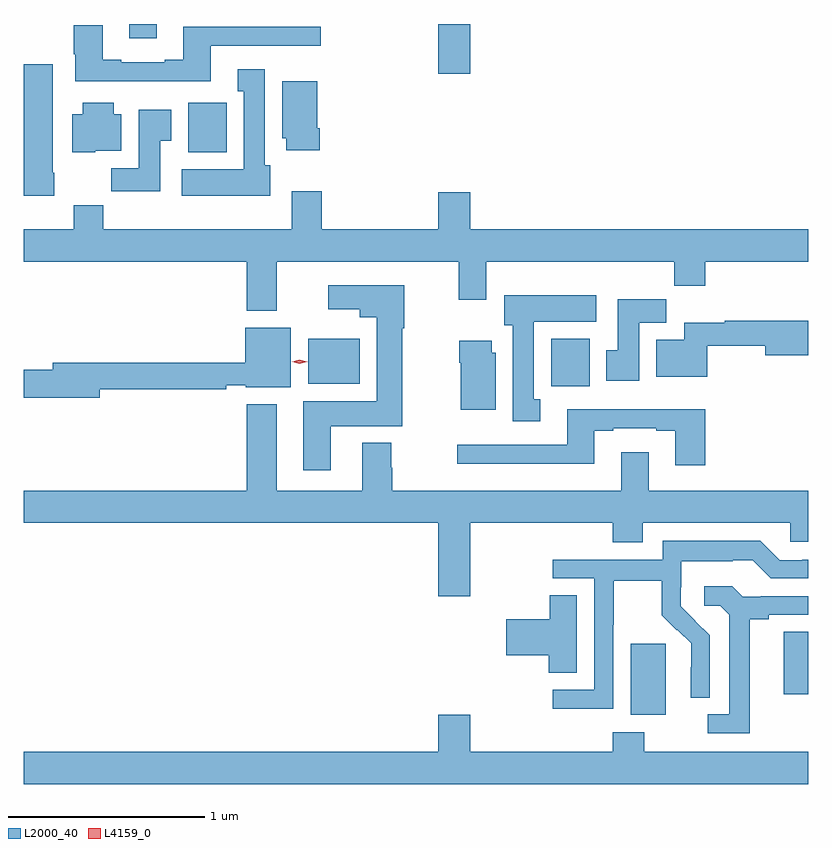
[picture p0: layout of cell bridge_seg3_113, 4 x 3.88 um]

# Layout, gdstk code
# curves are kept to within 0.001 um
import gdstk
lib = gdstk.Library(unit=1e-6, precision=1e-09)
def R(c, l, rs):  # rectangles x0, y0, x1, y1
    for r in rs: c.add(gdstk.rectangle(r[:2], r[2:], *l))
def P(c, l, *ps):  # polygons
    for p in ps: c.add(gdstk.Polygon(p, *l))
L2000_40 = (2000, 40)
L4159_0 = (4159, 0)

bridge_seg3_113 = lib.new_cell('bridge_seg3_113')
R(bridge_seg3_113, L2000_40, [(225.929,739.898,226.108,740.259), (226.709,740.001,226.835,740.321), (225.524,741.572,225.721,741.814), (224.285,741.584,224.548,741.814), (223.673,742.766,223.869,743.017), (224.948,743.166,225.112,743.419), (223.373,743.346,223.513,743.419)])
P(bridge_seg3_113, L2000_40, [(223.789,743.307),(224.35,743.307),(224.35,743.404),(223.649,743.404),(223.649,743.236),(223.553,743.236),(223.553,743.223),(223.333,743.223),(223.333,743.236),(223.237,743.236),(223.237,743.413),(223.09,743.413),(223.09,743.265),(223.097,743.265),(223.097,743.126),(223.789,743.126)],
  [(222.99,742.66),(222.982,742.66),(222.982,743.215),(222.835,743.215),(222.835,742.544),(222.99,742.544)],
  [(224.092,742.698),(224.065,742.698),(224.065,743.188),(223.925,743.188),(223.925,743.075),(223.958,743.075),(223.958,742.678),(223.641,742.678),(223.641,742.544),(224.092,742.544)],
  [(224.345,742.888),(224.332,742.888),(224.332,743.128),(224.153,743.128),(224.153,742.836),(224.174,742.836),(224.174,742.776),(224.345,742.776)],
  [(223.2,742.772),(223.333,742.772),(223.333,742.96),(223.294,742.96),(223.294,743.017),(223.136,743.017),(223.136,742.96),(223.082,742.96),(223.082,742.766),(223.2,742.766)],
  [(223.531,742.825),(223.588,742.825),(223.588,742.981),(223.421,742.981),(223.421,742.684),(223.282,742.684),(223.282,742.566),(223.531,742.566)],
  [(224.125,742.208),(225.053,742.208),(225.053,742.014),(225.193,742.014),(225.193,742.208),(226.153,742.208),(226.153,742.084),(226.31,742.084),(226.31,742.208),(226.835,742.208),(226.835,742.372),(225.112,742.372),(225.112,742.561),(224.948,742.561),(224.948,742.372),(224.354,742.372),(224.354,742.567),(224.201,742.567),(224.201,742.372),(223.241,742.372),(223.241,742.496),(223.09,742.496),(223.09,742.372),(222.835,742.372),(222.835,742.208),(223.973,742.208),(223.973,741.956),(224.125,741.956)],
  [(224.401,741.368),(224.766,741.368),(224.766,741.869),(224.776,741.869),(224.776,742.087),(224.388,742.087),(224.388,741.965),(224.549,741.965),(224.549,741.923),(224.636,741.923),(224.636,741.496),(224.261,741.496),(224.261,741.144),(224.401,741.144)],
  [(225.469,741.506),(225.436,741.506),(225.436,741.902),(225.754,741.902),(225.754,742.036),(225.284,742.036),(225.284,741.882),(225.329,741.882),(225.329,741.393),(225.469,741.393)],
  [(225.973,741.896),(226.112,741.896),(226.112,742.015),(225.863,742.015),(225.863,741.756),(225.806,741.756),(225.806,741.6),(225.973,741.6)],
  [(226.32,741.778),(226.616,741.778),(226.616,741.731),(226.835,741.731),(226.835,741.907),(226.408,741.907),(226.408,741.896),(226.202,741.896),(226.202,741.808),(226.061,741.808),(226.061,741.62),(226.32,741.62)],
  [(223.222,741.556),(223.868,741.556),(223.868,741.576),(223.968,741.576),(223.968,741.566),(224.197,741.566),(224.197,741.871),(223.964,741.871),(223.964,741.692),(222.983,741.692),(222.983,741.656),(222.835,741.656),(222.835,741.514),(223.222,741.514)],
  [(225.241,741.744),(225.22,741.744),(225.22,741.805),(225.055,741.805),(225.055,741.692),(225.062,741.692),(225.062,741.452),(225.241,741.452)],
  [(225.112,740.876),(225.839,740.876),(225.839,740.777),(225.991,740.777),(225.991,740.876),(226.743,740.876),(226.743,740.778),(226.835,740.778),(226.835,741.04),(226.021,741.04),(226.021,741.235),(225.881,741.235),(225.881,741.04),(224.714,741.04),(224.714,741.156),(224.709,741.156),(224.709,741.283),(224.561,741.283),(224.561,741.04),(224.125,741.04),(224.125,741.481),(223.973,741.481),(223.973,741.04),(222.835,741.04),(222.835,740.876),(224.948,740.876),(224.948,740.502),(225.112,740.502)],
  [(226.31,741.454),(225.605,741.454),(225.605,741.273),(225.045,741.273),(225.045,741.176),(225.745,741.176),(225.745,741.345),(225.841,741.345),(225.841,741.357),(226.061,741.357),(226.061,741.345),(226.157,741.345),(226.157,741.168),(226.31,741.168)],
  [(225.84,740.356),(225.843,740.356),(225.843,740.58),(226.087,740.58),(226.087,740.405),(226.164,740.328),(226.167,740.331),(226.238,740.261),(226.238,740.138),(226.236,740.138),(226.236,739.984),(226.332,739.984),(226.332,740.302),(226.186,740.45),(226.186,740.547),(226.188,740.547),(226.188,740.681),(226.451,740.681),(226.451,740.685),(226.551,740.685),(226.644,740.592),(226.835,740.592),(226.835,740.688),(226.805,740.688),(226.805,740.685),(226.689,740.685),(226.589,740.785),(226.092,740.785),(226.092,740.688),(225.531,740.688),(225.531,740.592),(225.744,740.592),(225.744,740.025),(225.531,740.025),(225.531,739.927),(225.84,739.927)],
  [(226.537,740.384),(226.633,740.384),(226.633,740.406),(226.835,740.406),(226.835,740.502),(226.594,740.502),(226.594,740.499),(226.5,740.499),(226.448,740.551),(226.305,740.551),(226.305,740.454),(226.386,740.454),(226.433,740.407),(226.433,739.899),(226.323,739.899),(226.323,739.803),(226.537,739.803)],
  [(225.655,740.507),(225.517,740.507),(225.517,740.384),(225.294,740.384),(225.294,740.201),(225.512,740.201),(225.512,740.11),(225.655,740.11)],
  [(226.835,739.708),(225.999,739.708),(225.999,739.807),(225.839,739.807),(225.839,739.708),(225.112,739.708),(225.112,739.897),(224.948,739.897),(224.948,739.708),(222.835,739.708),(222.835,739.544),(226.835,739.544)])
P(bridge_seg3_113, L4159_0, [(224.241,741.687),(224.203,741.696),(224.203,741.697),(224.203,741.697),(224.241,741.707),(224.28,741.697),(224.28,741.697),(224.28,741.697)])

lib.write_gds('bridge_seg3_113.gds')
